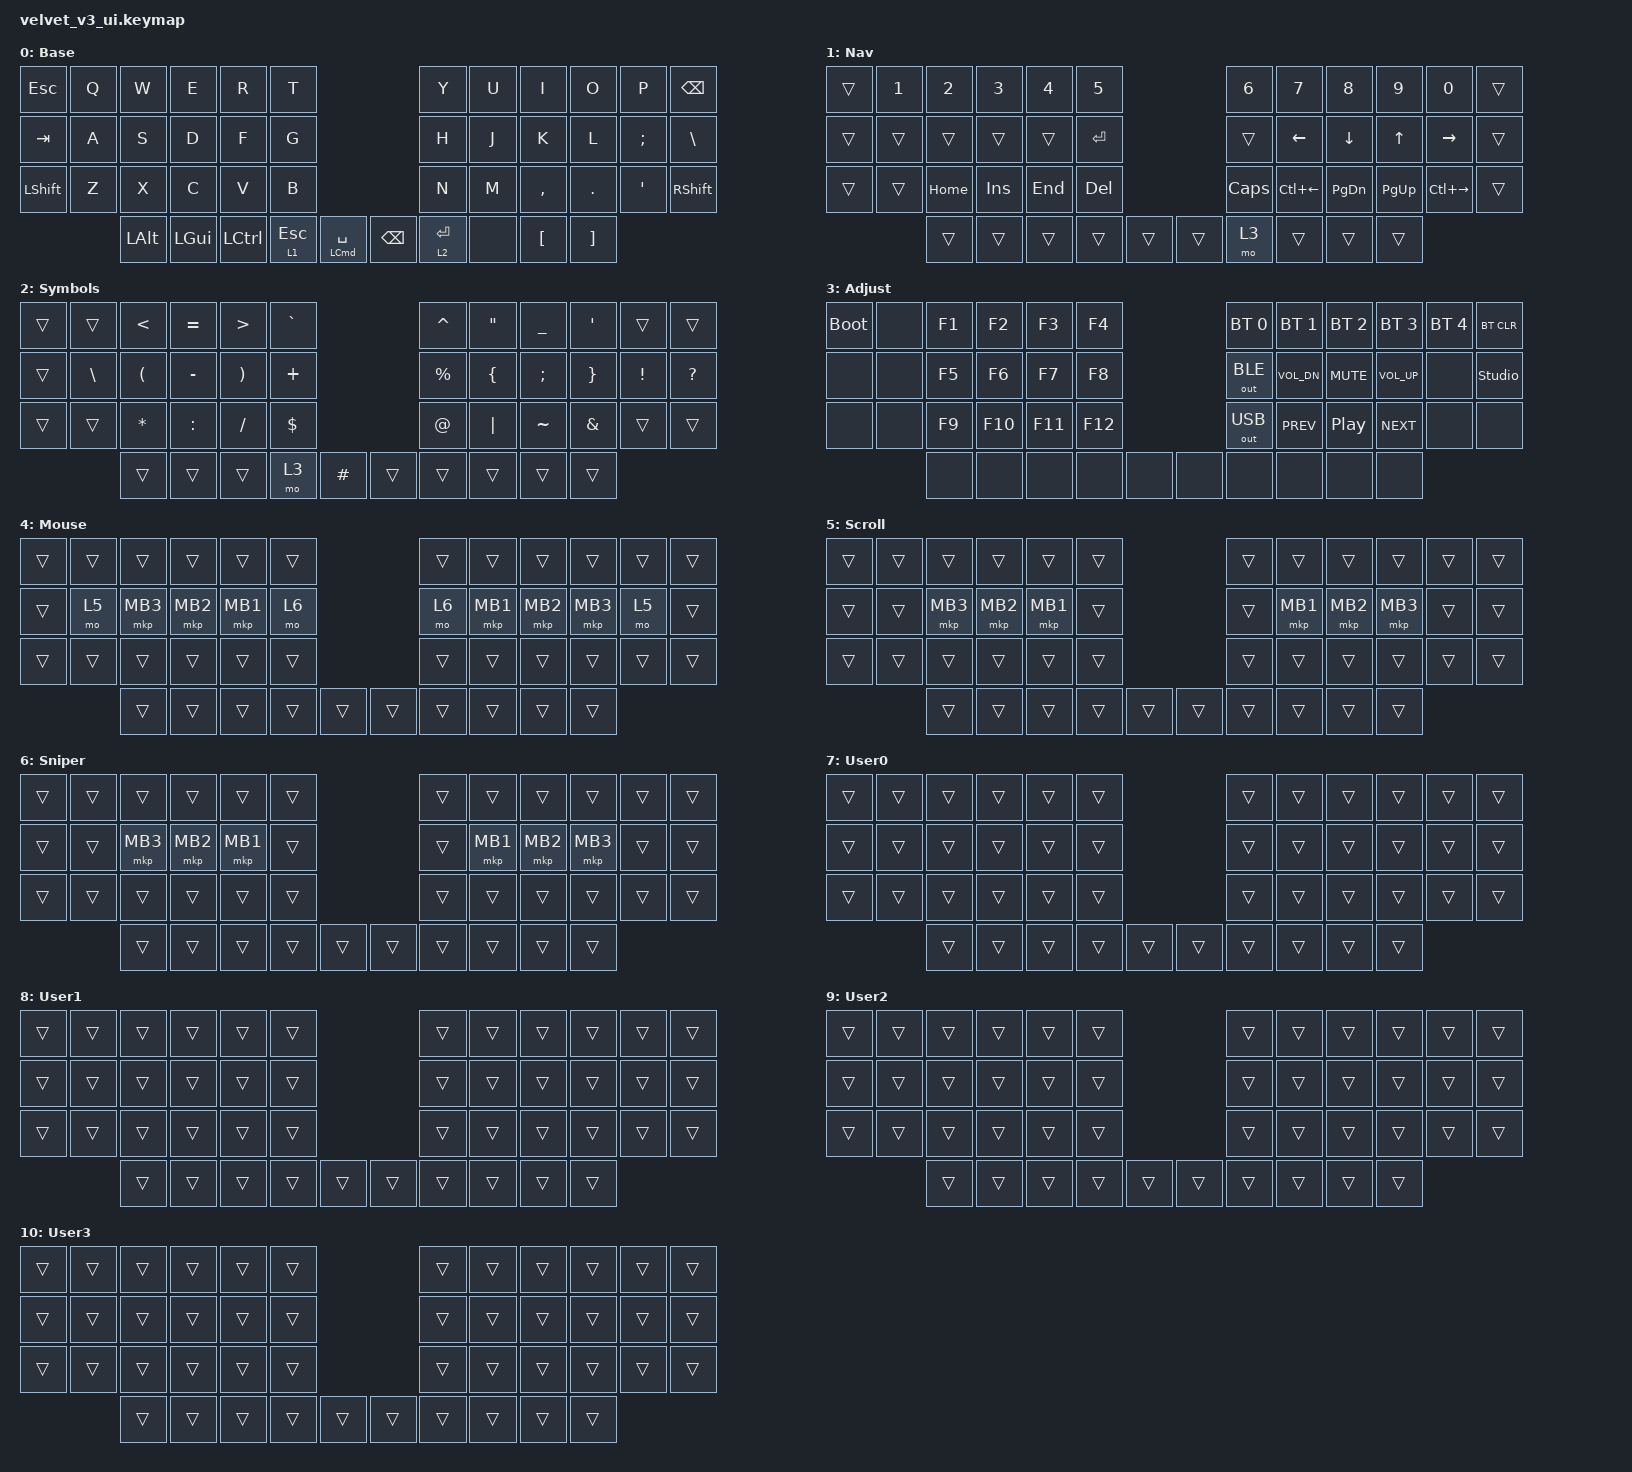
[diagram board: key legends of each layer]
#include "keys_ru.h"
#include <dt-bindings/zmk/input_transform.h>
#include <input/processors.dtsi>
#include <zephyr/dt-bindings/input/input-event-codes.h>
#include <behaviors.dtsi>
#include <dt-bindings/zmk/bt.h>
#include <dt-bindings/zmk/keys.h>
#include <dt-bindings/zmk/outputs.h>
#include <dt-bindings/zmk/pointing.h>

/ {
    behaviors {
        cap_sen: cap_sen {
            compatible = "zmk,behavior-hold-tap";
            label = "CAP_SEN";
            bindings = <&mo>, <&mkp>;

            #binding-cells = <2>;
            tapping-term-ms = <150>;
            hold-while-undecided;
        };

        mouse_layer: mouse_layer {
            compatible = "zmk,behavior-sticky-key";
            label = "MOUSE_LAYER";
            bindings = <&mo>;
            #binding-cells = <1>;
            release-after-ms = <200>;
        };

        hold_or_tap: hold_or_tap {
            compatible = "zmk,behavior-hold-tap";
            label = "HOLD_OR_TAP";
            bindings = <&kp>, <&kp>;

            #binding-cells = <2>;
            tapping-term-ms = <200>;
            quick-tap-ms = <150>;
            flavor = "tap-preferred";
            require-prior-idle-ms = <125>;
        };

        layer_tap_enter: layer_tap_enter {
            compatible = "zmk,behavior-hold-tap";
            label = "LAYER_TAP_ENTER";
            bindings = <&mo>, <&kp>;

            #binding-cells = <2>;
            tapping-term-ms = <200>;
            quick-tap-ms = <175>;
            require-prior-idle-ms = <125>;
            flavor = "tap-preferred";
        };

        zip_auto_mouse: zip_auto_mouse {
            compatible = "zmk,input-processor-temp-layer";
            #input-processor-cells = <2>;
            require-prior-idle-ms = <800>;
            excluded-positions = <>;
        };
    };

    keymap {
        compatible = "zmk,keymap";

        base {
            bindings = <
&kp ESC    &kp Q  &kp W     &kp E     &kp R      &kp T                                                                     &kp Y                     &kp U  &kp I      &kp O     &kp P     &kp BSPC
&kp TAB    &kp A  &kp S     &kp D     &kp F      &kp G                                                                     &kp H                     &kp J  &kp K      &kp L     &kp SEMI  &kp BSLH
&kp LSHFT  &kp Z  &kp X     &kp C     &kp V      &kp B                                                                     &kp N                     &kp M  &kp COMMA  &kp DOT   &kp SQT   &kp RSHFT
                  &kp LALT  &kp LGUI  &kp LCTRL  &layer_tap_enter 1 ESC  &hold_or_tap LEFT_COMMAND SPACE    &kp BACKSPACE  &layer_tap_enter 2 ENTER  &none  &kp LBKT   &kp RBKT
            >;

            display-name = "Base";
        };

        nav {
            bindings = <
&trans  &kp N1  &kp N2    &kp N3   &kp N4   &kp N5                     &kp N6    &kp N7        &kp N8         &kp N9       &kp N0         &trans
&trans  &trans  &trans    &trans   &trans   &kp RET                    &trans    &kp LEFT      &kp DOWN       &kp UP       &kp RIGHT      &trans
&trans  &trans  &kp HOME  &kp INS  &kp END  &kp DEL                    &kp CLCK  &kp LC(LEFT)  &kp PAGE_DOWN  &kp PAGE_UP  &kp LC(RIGHT)  &trans
                &trans    &trans   &trans   &trans   &trans    &trans  &mo 3     &trans        &trans         &trans
            >;

            display-name = "Nav";
        };

        sym {
            bindings = <
&trans  &trans    &kp LT    &kp EQUAL  &kp GT    &kp GRAVE                      &kp CARET  &kp DQT   &kp UNDER  &kp SQT   &trans    &trans
&trans  &kp BSLH  &kp LPAR  &kp MINUS  &kp RPAR  &kp PLUS                       &kp PRCNT  &kp LBRC  &kp SEMI   &kp RBRC  &kp EXCL  &kp QUESTION
&trans  &trans    &kp STAR  &kp COLON  &kp FSLH  &kp DLLR                       &kp AT     &kp PIPE  &kp TILDE  &kp AMPS  &trans    &trans
                  &trans    &trans     &trans    &mo 3      &kp HASH    &trans  &trans     &trans    &trans     &trans
            >;

            display-name = "Symbols";
        };

        adj {
            bindings = <
&bootloader  &none  &kp F1  &kp F2   &kp F3   &kp F4                   &bt BT_SEL 0  &bt BT_SEL 1  &bt BT_SEL 2      &bt BT_SEL 3  &bt BT_SEL 4  &bt BT_CLR
&none        &none  &kp F5  &kp F6   &kp F7   &kp F8                   &out OUT_BLE  &kp C_VOL_DN  &kp C_MUTE        &kp C_VOL_UP  &none         &studio_unlock
&none        &none  &kp F9  &kp F10  &kp F11  &kp F12                  &out OUT_USB  &kp C_PREV    &kp C_PLAY_PAUSE  &kp C_NEXT    &none         &none
                    &none   &none    &none    &none    &none    &none  &none         &none         &none             &none
            >;

            display-name = "Adjust";
        };

        mouse {
            bindings = <
&trans  &trans  &trans    &trans    &trans    &trans                    &trans  &trans    &trans    &trans    &trans  &trans
&trans  &mo 5   &mkp MB3  &mkp MB2  &mkp MB1  &mo 6                     &mo 6   &mkp MB1  &mkp MB2  &mkp MB3  &mo 5   &trans
&trans  &trans  &trans    &trans    &trans    &trans                    &trans  &trans    &trans    &trans    &trans  &trans
                &trans    &trans    &trans    &trans  &trans    &trans  &trans  &trans    &trans    &trans
            >;

            display-name = "Mouse";
        };

        scroll {
            bindings = <
&trans  &trans  &trans    &trans    &trans    &trans                    &trans  &trans    &trans    &trans    &trans  &trans
&trans  &trans  &mkp MB3  &mkp MB2  &mkp MB1  &trans                    &trans  &mkp MB1  &mkp MB2  &mkp MB3  &trans  &trans
&trans  &trans  &trans    &trans    &trans    &trans                    &trans  &trans    &trans    &trans    &trans  &trans
                &trans    &trans    &trans    &trans  &trans    &trans  &trans  &trans    &trans    &trans
            >;

            display-name = "Scroll";
        };

        sniper {
            bindings = <
&trans  &trans  &trans    &trans    &trans    &trans                    &trans  &trans    &trans    &trans    &trans  &trans
&trans  &trans  &mkp MB3  &mkp MB2  &mkp MB1  &trans                    &trans  &mkp MB1  &mkp MB2  &mkp MB3  &trans  &trans
&trans  &trans  &trans    &trans    &trans    &trans                    &trans  &trans    &trans    &trans    &trans  &trans
                &trans    &trans    &trans    &trans  &trans    &trans  &trans  &trans    &trans    &trans
            >;

            display-name = "Sniper";
        };

        User0 {
            bindings = <
&trans  &trans  &trans  &trans  &trans  &trans                    &trans  &trans  &trans  &trans  &trans  &trans
&trans  &trans  &trans  &trans  &trans  &trans                    &trans  &trans  &trans  &trans  &trans  &trans
&trans  &trans  &trans  &trans  &trans  &trans                    &trans  &trans  &trans  &trans  &trans  &trans
                &trans  &trans  &trans  &trans  &trans    &trans  &trans  &trans  &trans  &trans
            >;

            display-name = "User0";
        };

        User1 {
            bindings = <
&trans  &trans  &trans  &trans  &trans  &trans                    &trans  &trans  &trans  &trans  &trans  &trans
&trans  &trans  &trans  &trans  &trans  &trans                    &trans  &trans  &trans  &trans  &trans  &trans
&trans  &trans  &trans  &trans  &trans  &trans                    &trans  &trans  &trans  &trans  &trans  &trans
                &trans  &trans  &trans  &trans  &trans    &trans  &trans  &trans  &trans  &trans
            >;

            display-name = "User1";
        };

        User2 {
            bindings = <
&trans  &trans  &trans  &trans  &trans  &trans                    &trans  &trans  &trans  &trans  &trans  &trans
&trans  &trans  &trans  &trans  &trans  &trans                    &trans  &trans  &trans  &trans  &trans  &trans
&trans  &trans  &trans  &trans  &trans  &trans                    &trans  &trans  &trans  &trans  &trans  &trans
                &trans  &trans  &trans  &trans  &trans    &trans  &trans  &trans  &trans  &trans
            >;

            display-name = "User2";
        };

        User3 {
            bindings = <
&trans  &trans  &trans  &trans  &trans  &trans                    &trans  &trans  &trans  &trans  &trans  &trans
&trans  &trans  &trans  &trans  &trans  &trans                    &trans  &trans  &trans  &trans  &trans  &trans
&trans  &trans  &trans  &trans  &trans  &trans                    &trans  &trans  &trans  &trans  &trans  &trans
                &trans  &trans  &trans  &trans  &trans    &trans  &trans  &trans  &trans  &trans
            >;

            display-name = "User3";
        };
    };
};

&trackball { cpi = <1000>; };

&trackball_listener {
    input-processors = <&zip_auto_mouse 4 500>, <&zip_xy_scaler 9 20>;

    scroller {
        layers = <5>;
        input-processors =
            <&zip_xy_transform INPUT_TRANSFORM_Y_INVERT>,
            <&zip_xy_scaler 1 32>,
            <&zip_xy_to_scroll_mapper>;
    };

    sniper {
        layers = <6>;
        input-processors = <&zip_xy_scaler 1 4>;
    };
};
